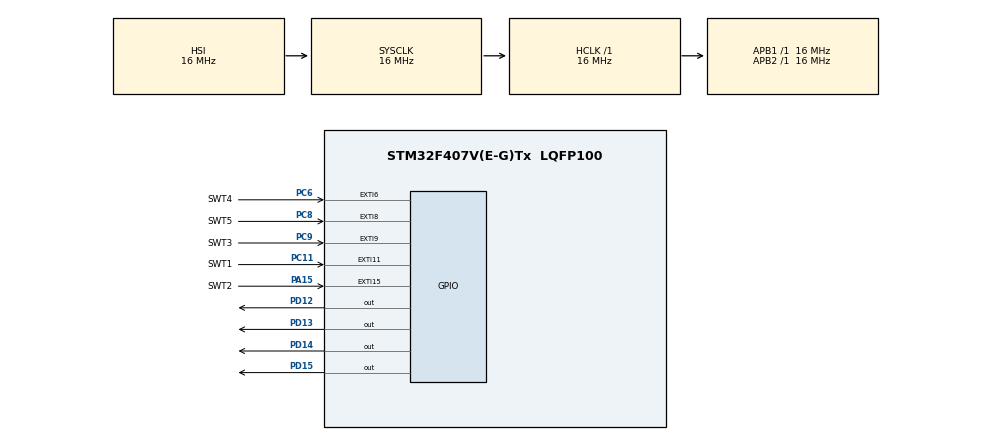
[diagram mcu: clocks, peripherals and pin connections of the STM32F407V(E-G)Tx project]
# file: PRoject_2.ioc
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Mcu.Family=STM32F4
Mcu.Name=STM32F407V(E-G)Tx
Mcu.Package=LQFP100
NVIC.EXTI15_10_IRQn=true\:0\:0\:false\:false\:true\:true\:true
NVIC.EXTI9_5_IRQn=true\:0\:0\:false\:false\:true\:true\:true
NVIC.PriorityGroup=NVIC_PRIORITYGROUP_4
PA15.GPIO_Label=SWT2
PA15.GPIO_ModeDefaultEXTI=GPIO_MODE_IT_FALLING
PA15.Signal=GPXTI15
PC11.GPIO_Label=SWT1
PC11.GPIO_ModeDefaultEXTI=GPIO_MODE_IT_FALLING
PC11.Signal=GPXTI11
PC6.GPIO_Label=SWT4
PC6.GPIO_ModeDefaultEXTI=GPIO_MODE_IT_FALLING
PC6.Signal=GPXTI6
PC8.GPIO_Label=SWT5
PC8.GPIO_ModeDefaultEXTI=GPIO_MODE_IT_FALLING
PC8.Signal=GPXTI8
PC9.GPIO_Label=SWT3
PC9.GPIO_ModeDefaultEXTI=GPIO_MODE_IT_FALLING
PC9.Signal=GPXTI9
PD12.Signal=GPIO_Output
PD13.Signal=GPIO_Output
PD14.Signal=GPIO_Output
PD15.Signal=GPIO_Output
ProjectManager.HeapSize=0x200
ProjectManager.StackSize=0x400
ProjectManager.TargetToolchain=STM32CubeIDE
RCC.AHBFreq_Value=16000000
RCC.APB1Freq_Value=16000000
RCC.APB2Freq_Value=16000000
RCC.CortexFreq_Value=16000000
RCC.HSE_VALUE=25000000
RCC.HSI_VALUE=16000000
RCC.LSE_VALUE=32768
RCC.SYSCLKFreq_VALUE=16000000
RCC.VCOOutputFreq_Value=192000000
board=custom

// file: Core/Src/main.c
/* USER CODE BEGIN Header */
/**
  ******************************************************************************
  * @file           : main.c
  * @brief          : Main program body
  ******************************************************************************
  * @attention
  *
  * <h2><center>&copy; Copyright (c) 2021 STMicroelectronics.
  * All rights reserved.</center></h2>
  *
  * This software component is licensed by ST under BSD 3-Clause license,
  * the "License"; You may not use this file except in compliance with the
  * License. You may obtain a copy of the License at:
  *                        opensource.org/licenses/BSD-3-Clause
  *
  ******************************************************************************
  */
/* USER CODE END Header */
#include "main.h"

/* USER CODE BEGIN PV */
int pin_led[] = {0x1000, 0x2000, 0x4000, 0x8000};
int varr_pin_6 = 0, varr_pin_8 = 0,  varr_pin_9 = 0, varr_pin_11 = 0, varr_pin_15 = 0;
int mode = 0;
int speed = 500;
/* USER CODE END PV */

void SystemClock_Config(void);
static void MX_GPIO_Init(void);

int main(void)
{

  /* MCU Configuration--------------------------------------------------------*/

  /* Reset of all peripherals, Initializes the Flash interface and the Systick. */
  HAL_Init();

  /* Configure the system clock */
  SystemClock_Config();

  /* Initialize all configured peripherals */
  MX_GPIO_Init();
  /* USER CODE BEGIN 2 */
  void blink_zero() {
	             HAL_GPIO_WritePin(GPIOD, GPIO_PIN_13, GPIO_PIN_SET);
	  		     HAL_Delay(10+speed);
	  		     HAL_GPIO_WritePin(GPIOD, GPIO_PIN_13, GPIO_PIN_RESET);
	  		  	 HAL_Delay(10+speed);

  }
  void blink_first() {
	  for (int i = 0; i<4; i++){
	  	    HAL_GPIO_WritePin(GPIOD, ((uint16_t)pin_led[i]), GPIO_PIN_SET);
	  	     HAL_Delay(speed);
	  	     HAL_GPIO_WritePin(GPIOD, ((uint16_t)pin_led[i]), GPIO_PIN_RESET);
	  	  	 HAL_Delay(speed);
	  }
  }

  void blink_second() {
	  for (int i = 3; i>=0; i--){
	  	  // HAL_GPIO_TogglePin(GPIOD, (uint16_t)pin_led[i]);
	  	  HAL_GPIO_WritePin(GPIOD, ((uint16_t)pin_led[i]), GPIO_PIN_SET);
	  		     HAL_Delay(600+speed);
	  		     HAL_GPIO_WritePin(GPIOD, ((uint16_t)pin_led[i]), GPIO_PIN_RESET);
	  		  	 HAL_Delay(600+speed);
	  }
  }

  void blink_third() {
	             HAL_GPIO_WritePin(GPIOD, GPIO_PIN_15, GPIO_PIN_SET);
	             HAL_GPIO_WritePin(GPIOD, GPIO_PIN_13, GPIO_PIN_RESET);
	  		     HAL_Delay(speed);
	  		     HAL_GPIO_WritePin(GPIOD, GPIO_PIN_15, GPIO_PIN_RESET);
	  		     HAL_GPIO_WritePin(GPIOD, GPIO_PIN_13, GPIO_PIN_SET);
	  		  	 HAL_Delay(speed);

  }
  /* USER CODE END 2 */

  /* Infinite loop */
  /* USER CODE BEGIN WHILE */
  while (1)
  {
  if (varr_pin_15 == 0) {

	  switch (mode) {
	  case 0 :
		  blink_zero();
		 break;

	  case 1 :
		  blink_first();
	 		 break;
	  case 2 :
		  blink_second();
	 		 break;
	  case 3 :
		  blink_third();
	 		 break;

	  }
  }
  else {
	  HAL_GPIO_WritePin(GPIOD, GPIO_PIN_12 | GPIO_PIN_13 | GPIO_PIN_14| GPIO_PIN_15, GPIO_PIN_RESET);

  }

}

/* USER CODE BEGIN 3 */
    /* USER CODE END WHILE */

    /* USER CODE BEGIN 3 */
    /* USER CODE END WHILE */

    /* USER CODE BEGIN 3 */
    /* USER CODE END WHILE */

    /* USER CODE BEGIN 3 */
/* USER CODE END WHILE */
  /* USER CODE END 3 */
}

void SystemClock_Config(void)
{
  RCC_OscInitTypeDef RCC_OscInitStruct = {0};
  RCC_ClkInitTypeDef RCC_ClkInitStruct = {0};

  /** Configure the main internal regulator output voltage
  */
  __HAL_RCC_PWR_CLK_ENABLE();
  __HAL_PWR_VOLTAGESCALING_CONFIG(PWR_REGULATOR_VOLTAGE_SCALE1);
  /** Initializes the RCC Oscillators according to the specified parameters
  * in the RCC_OscInitTypeDef structure.
  */
  RCC_OscInitStruct.OscillatorType = RCC_OSCILLATORTYPE_HSI;
  RCC_OscInitStruct.HSIState = RCC_HSI_ON;
  RCC_OscInitStruct.HSICalibrationValue = RCC_HSICALIBRATION_DEFAULT;
  RCC_OscInitStruct.PLL.PLLState = RCC_PLL_NONE;
  if (HAL_RCC_OscConfig(&RCC_OscInitStruct) != HAL_OK)
  {
    Error_Handler();
  }
  /** Initializes the CPU, AHB and APB buses clocks
  */
  RCC_ClkInitStruct.ClockType = RCC_CLOCKTYPE_HCLK|RCC_CLOCKTYPE_SYSCLK
                              |RCC_CLOCKTYPE_PCLK1|RCC_CLOCKTYPE_PCLK2;
  RCC_ClkInitStruct.SYSCLKSource = RCC_SYSCLKSOURCE_HSI;
  RCC_ClkInitStruct.AHBCLKDivider = RCC_SYSCLK_DIV1;
  RCC_ClkInitStruct.APB1CLKDivider = RCC_HCLK_DIV1;
  RCC_ClkInitStruct.APB2CLKDivider = RCC_HCLK_DIV1;

  if (HAL_RCC_ClockConfig(&RCC_ClkInitStruct, FLASH_LATENCY_0) != HAL_OK)
  {
    Error_Handler();
  }
}

static void MX_GPIO_Init(void)
{
  GPIO_InitTypeDef GPIO_InitStruct = {0};

  /* GPIO Ports Clock Enable */
  __HAL_RCC_GPIOD_CLK_ENABLE();
  __HAL_RCC_GPIOC_CLK_ENABLE();
  __HAL_RCC_GPIOA_CLK_ENABLE();

  /*Configure GPIO pin Output Level */
  HAL_GPIO_WritePin(GPIOD, GPIO_PIN_12|GPIO_PIN_13|GPIO_PIN_14|GPIO_PIN_15, GPIO_PIN_RESET);

  /*Configure GPIO pins : PD12 PD13 PD14 PD15 */
  GPIO_InitStruct.Pin = GPIO_PIN_12|GPIO_PIN_13|GPIO_PIN_14|GPIO_PIN_15;
  GPIO_InitStruct.Mode = GPIO_MODE_OUTPUT_PP;
  GPIO_InitStruct.Pull = GPIO_NOPULL;
  GPIO_InitStruct.Speed = GPIO_SPEED_FREQ_LOW;
  HAL_GPIO_Init(GPIOD, &GPIO_InitStruct);

  /*Configure GPIO pins : SWT4_Pin SWT5_Pin SWT3_Pin SWT1_Pin */
  GPIO_InitStruct.Pin = SWT4_Pin|SWT5_Pin|SWT3_Pin|SWT1_Pin;
  GPIO_InitStruct.Mode = GPIO_MODE_IT_FALLING;
  GPIO_InitStruct.Pull = GPIO_NOPULL;
  HAL_GPIO_Init(GPIOC, &GPIO_InitStruct);

  /*Configure GPIO pin : SWT2_Pin */
  GPIO_InitStruct.Pin = SWT2_Pin;
  GPIO_InitStruct.Mode = GPIO_MODE_IT_FALLING;
  GPIO_InitStruct.Pull = GPIO_NOPULL;
  HAL_GPIO_Init(SWT2_GPIO_Port, &GPIO_InitStruct);

  /* EXTI interrupt init*/
  HAL_NVIC_SetPriority(EXTI9_5_IRQn, 0, 0);
  HAL_NVIC_EnableIRQ(EXTI9_5_IRQn);

  HAL_NVIC_SetPriority(EXTI15_10_IRQn, 0, 0);
  HAL_NVIC_EnableIRQ(EXTI15_10_IRQn);

}

/* USER CODE BEGIN 4 */
void HAL_GPIO_EXTI_Callback(uint16_t GPIO_Pin)

{
	  if(GPIO_Pin== GPIO_PIN_6) {

		  varr_pin_6++;
		  mode++;
		  if (mode > 3){
			  mode = 3;
		  }
	  } else{

	  }

	  if(GPIO_Pin== GPIO_PIN_8) {

			  varr_pin_8++;
			  mode--;
			  if (mode < 0){
				  mode = 0;
			  }
		  } else{

		  }

	  if(GPIO_Pin== GPIO_PIN_9) {

			  varr_pin_9++;
			  speed += 200;
		  } else{

		  }

  if(GPIO_Pin== GPIO_PIN_11) {
	  speed -= 200;
	  if (speed <100) {
		  speed = 100;
	  }
	  varr_pin_11++;
  } else{

  }

  if(GPIO_Pin== GPIO_PIN_15) {

		  varr_pin_15++;

		  if (varr_pin_15 > 1) {
			  varr_pin_15 = 0;
		  }
	  } else{

	  }

}

/* USER CODE END 4 */

void Error_Handler(void)
{
  __disable_irq();
  while (1)
  {
  }
}

/************************ (C) COPYRIGHT STMicroelectronics *****END OF FILE****/
